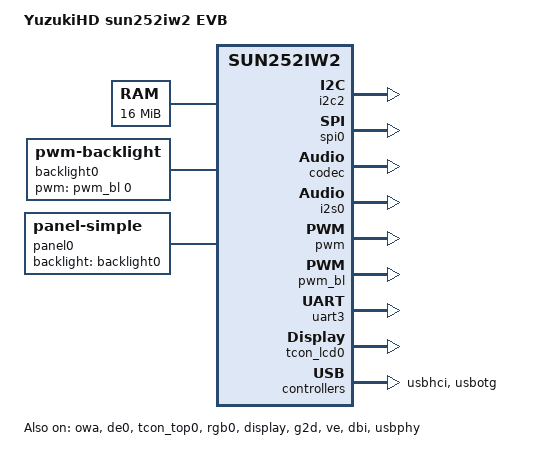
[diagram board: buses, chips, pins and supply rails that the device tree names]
/*
 * Copyright (c) 2006-2026, RT-Thread Development Team
 *
 * SPDX-License-Identifier: Apache-2.0
 *
 * Allwinner sun252iw2 EVB: console on UART3 (PE08/PE09).
 */

/dts-v1/;

#include "sun252iw2.dtsi"

/ {
	model = "YuzukiHD sun252iw2 EVB";
	compatible = "yuzukihd,sun252iw2-evb", "allwinner,sun252iw2";

	aliases {
		serial3 = &uart3;
	};

	chosen {
		stdout-path = "serial3:115200n8";
	};

	memory@40000000 {
		device_type = "memory";
		reg = <0x40000000 0x01000000>;
	};
};

/* UART3 console on PE08 (TX) / PE09 (RX), function 6 */
&pio {
	uart3_pins: uart3-pins {
		pinmux = <ALLWINNER_PINMUX(ALLWINNER_PIO_PE, 8, 6)
			  ALLWINNER_PINMUX(ALLWINNER_PIO_PE, 9, 6)>;
	};
};

&pio {
	i2c2_pins: i2c2-pins {
		pinmux = <ALLWINNER_PINMUX(ALLWINNER_PIO_PD, 10, 4)
			  ALLWINNER_PINMUX(ALLWINNER_PIO_PD, 11, 4)>;
		bias-pull-up;
	};

	spi0_pins: spi0-pins {
		pinmux = <ALLWINNER_PINMUX(ALLWINNER_PIO_PC, 0, 3)
			  ALLWINNER_PINMUX(ALLWINNER_PIO_PC, 2, 3)
			  ALLWINNER_PINMUX(ALLWINNER_PIO_PC, 4, 3)>;
	};

	spi0_pulled_pins: spi0-pulled-pins {
		pinmux = <ALLWINNER_PINMUX(ALLWINNER_PIO_PC, 1, 3)
			  ALLWINNER_PINMUX(ALLWINNER_PIO_PC, 3, 3)
			  ALLWINNER_PINMUX(ALLWINNER_PIO_PC, 5, 3)>;
		bias-pull-up;
	};

	sdc0_pins: sdc0-pins {
		pinmux = <ALLWINNER_PINMUX(ALLWINNER_PIO_PF, 0, 2)
			  ALLWINNER_PINMUX(ALLWINNER_PIO_PF, 1, 2)
			  ALLWINNER_PINMUX(ALLWINNER_PIO_PF, 3, 2)
			  ALLWINNER_PINMUX(ALLWINNER_PIO_PF, 4, 2)
			  ALLWINNER_PINMUX(ALLWINNER_PIO_PF, 5, 2)>;
		bias-pull-up;
	};

	/* the JTAG port: TMS PF0, TDI PF1, TDO PF3, TCK PF5 (the pins of the SD card slot) */
	jtag_pins: jtag-pins {
		pinmux = <ALLWINNER_PINMUX(ALLWINNER_PIO_PF, 0, 4)
			  ALLWINNER_PINMUX(ALLWINNER_PIO_PF, 1, 4)
			  ALLWINNER_PINMUX(ALLWINNER_PIO_PF, 3, 4)
			  ALLWINNER_PINMUX(ALLWINNER_PIO_PF, 5, 4)>;
		bias-pull-up;
	};

	sdc0_clk_pin: sdc0-clk-pin {
		pinmux = <ALLWINNER_PINMUX(ALLWINNER_PIO_PF, 2, 2)>;
		bias-disable;
	};

	rgb_pins: rgb-pins {
		pinmux = <ALLWINNER_PINMUX(ALLWINNER_PIO_PD, 0, 2)
			  ALLWINNER_PINMUX(ALLWINNER_PIO_PD, 1, 2)
			  ALLWINNER_PINMUX(ALLWINNER_PIO_PD, 2, 2)
			  ALLWINNER_PINMUX(ALLWINNER_PIO_PD, 3, 2)
			  ALLWINNER_PINMUX(ALLWINNER_PIO_PD, 4, 2)
			  ALLWINNER_PINMUX(ALLWINNER_PIO_PD, 5, 2)
			  ALLWINNER_PINMUX(ALLWINNER_PIO_PD, 6, 2)
			  ALLWINNER_PINMUX(ALLWINNER_PIO_PD, 7, 2)
			  ALLWINNER_PINMUX(ALLWINNER_PIO_PD, 8, 2)
			  ALLWINNER_PINMUX(ALLWINNER_PIO_PD, 9, 2)
			  ALLWINNER_PINMUX(ALLWINNER_PIO_PE, 6, 4)
			  ALLWINNER_PINMUX(ALLWINNER_PIO_PE, 7, 4)
			  ALLWINNER_PINMUX(ALLWINNER_PIO_PD, 12, 2)
			  ALLWINNER_PINMUX(ALLWINNER_PIO_PD, 13, 2)
			  ALLWINNER_PINMUX(ALLWINNER_PIO_PD, 14, 2)
			  ALLWINNER_PINMUX(ALLWINNER_PIO_PD, 15, 2)
			  ALLWINNER_PINMUX(ALLWINNER_PIO_PD, 16, 2)
			  ALLWINNER_PINMUX(ALLWINNER_PIO_PD, 17, 2)
			  ALLWINNER_PINMUX(ALLWINNER_PIO_PD, 18, 2)
			  ALLWINNER_PINMUX(ALLWINNER_PIO_PD, 19, 2)
			  ALLWINNER_PINMUX(ALLWINNER_PIO_PD, 20, 2)
			  ALLWINNER_PINMUX(ALLWINNER_PIO_PD, 21, 2)>;
	};

	pwm_bl_pins: pwm-bl-pins {
		pinmux = <ALLWINNER_PINMUX(ALLWINNER_PIO_PB, 0, 2)
			  ALLWINNER_PINMUX(ALLWINNER_PIO_PB, 1, 2)
			  ALLWINNER_PINMUX(ALLWINNER_PIO_PB, 2, 2)
			  ALLWINNER_PINMUX(ALLWINNER_PIO_PB, 3, 2)>;
	};
};

&i2c2 {
	pinctrl-names = "default";
	pinctrl-0 = <&i2c2_pins>;
	status = "okay";
};

/* the SPI NOR flash of the board hangs on SPI0 */
&spi0 {
	pinctrl-names = "default";
	pinctrl-0 = <&spi0_pins>, <&spi0_pulled_pins>;
	status = "okay";
};

/*
 * PF0..PF5 serve either the SD card slot or the JTAG port: switch the two status lines
 * ("okay" on one, "disabled" on the other). PF6 is low with a card in.
 */
&mmc0 {
	pinctrl-names = "default";
	pinctrl-0 = <&sdc0_pins>, <&sdc0_clk_pin>;
	cd-gpios = <&pio 5 6 0>;
	status = "disabled";
};

/ {
	jtag {
		compatible = "allwinner,sun252i-jtag";
		pinctrl-names = "default";
		pinctrl-0 = <&jtag_pins>;
		status = "okay";
	};
};

/* the headphone / speaker output and the microphone; the speaker amplifier enable is PE10 */
&codec {
	speaker-gpios = <&pio 4 10 0>;
	status = "okay";
};

/* I2S0 and S/PDIF have no pins on this board: they run with their internal loopback */
&i2s0 {
	status = "okay";
};

&owa {
	status = "okay";
};

&pwm {
	status = "okay";
};

/* the panel backlight of the EVB: PB0..PB3 */
&pwm_bl {
	pinctrl-names = "default";
	pinctrl-0 = <&pwm_bl_pins>;
	status = "okay";
};

&uart3 {
	pinctrl-names = "default";
	pinctrl-0 = <&uart3_pins>;
	status = "okay";
};

/* 1024x600 RGB666 panel: de0 -> tcon_lcd0 -> rgb0 -> panel0, backlight on PWM_BL */
/ {
	backlight0: backlight {
		compatible = "pwm-backlight";
		pwms = <&pwm_bl 0 20000 1>;
		max-level = <255>;
		default-level = <250>;
	};

	panel0: panel {
		compatible = "panel-simple";
		width = <1024>;
		height = <600>;
		width-mm = <154>;
		height-mm = <86>;
		bus-format = "rgb666-1x18";
		enable-delay-ms = <50>;
		backlight = <&backlight0>;

		/* PD22 switches the panel supply */
		power-on-sequence = <SUNXI_CMD_GPIO(SUNXI_PIN(ALLWINNER_PIO_PD, 22), 1)
				     SUNXI_CMD_DELAY(30)>;
		power-off-sequence = <SUNXI_CMD_GPIO(SUNXI_PIN(ALLWINNER_PIO_PD, 22), 0)
				      SUNXI_CMD_DELAY(20)>;

		display-timings {
			timing0 {
				clock-frequency = <49000000>;
				hsync-len = <20>;
				hfront-porch = <161>;
				hback-porch = <35>;
				vsync-len = <10>;
				vfront-porch = <15>;
				vback-porch = <25>;
				hsync-active = <0>;
				vsync-active = <0>;
				de-active = <1>;
				pixelclk-active = <1>;
			};
		};
	};
};

&de0 {
	status = "okay";
	brightness = <50>;
	contrast = <50>;
	saturation = <57>;
	hue = <50>;
};

&tcon_top0 {
	status = "okay";
};

&tcon_lcd0 {
	status = "okay";
};

&rgb0 {
	status = "okay";
	pinctrl-names = "default";
	pinctrl-0 = <&rgb_pins>;
	hv-mode = <SUNXI_HV_PARALLEL_RGB>;
	rgb-swap = <5>;

	ports {
		#address-cells = <1>;
		#size-cells = <0>;

		port@1 {
			reg = <1>;
			#address-cells = <1>;
			#size-cells = <0>;

			endpoint@0 {
				reg = <0>;
				remote-endpoint = <&panel0>;
			};
		};
	};
};

&display {
	status = "okay";
};

/* 2D graphics accelerator */
&g2d {
	status = "okay";
};

/* video engine: JPEG, PNG and H.264 decoder */
&ve {
	status = "okay";
};

/*
 * The DBI pins (PD0..PD5) belong to the RGB panel on this board: the node has no pin state and no
 * chip select or reset line, so the transfers run without a panel behind them.
 */
&dbi {
	status = "okay";
};

/*
 * USB 2.0 port: the OTG (device) controller and the EHCI/OHCI host controllers share one PHY, an
 * application starts the stack of the role it needs. PE02 drives VBUS for the host role.
 */
&usbphy {
	vbus-gpios = <&pio 4 2 0>;
	status = "okay";
};

&usbhci {
	status = "okay";
};

&usbotg {
	status = "okay";
};
